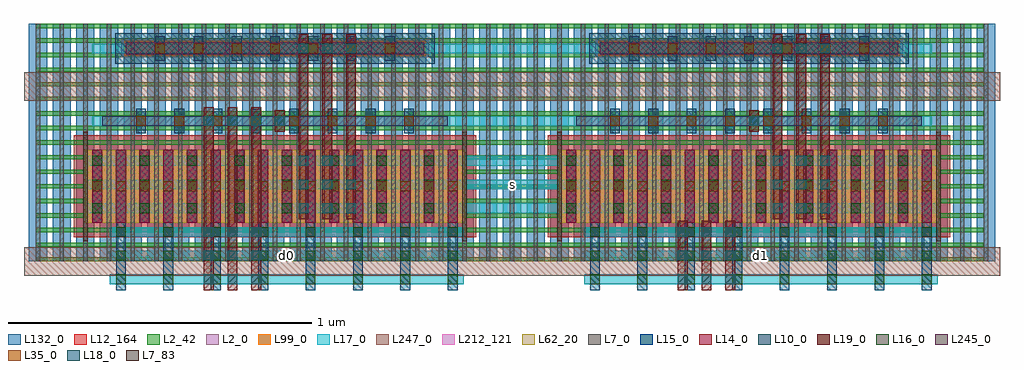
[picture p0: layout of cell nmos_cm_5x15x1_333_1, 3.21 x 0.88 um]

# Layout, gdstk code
import gdstk
lib = gdstk.Library(unit=1e-6, precision=1e-12)
def R(c, l, rs):  # rectangles x0, y0, x1, y1
    for r in rs: c.add(gdstk.rectangle(r[:2], r[2:], *l))
def A(c, l, x, y, w, h, nx, ny, dx, dy):  # array of equal rectangles
    R(c, l, [(x+i*dx, y+j*dy, x+i*dx+w, y+j*dy+h) for i in range(nx) for j in range(ny)])
L2_0 = (2, 0)
L2_42 = (2, 42)
L7_0 = (7, 0)
L7_83 = (7, 83)
L10_0 = (10, 0)
L12_164 = (12, 164)
L14_0 = (14, 0)
L15_0 = (15, 0)
L16_0 = (16, 0)
L17_0 = (17, 0)
L18_0 = (18, 0)
L19_0 = (19, 0)
L35_0 = (35, 0)
L62_20 = (62, 20)
L99_0 = (99, 0)
L132_0 = (132, 0)
L212_121 = (212, 121)
L245_0 = (245, 0)
L247_0 = (247, 0)

nmos_cm_5x15x1_333_1 = lib.new_cell('nmos_cm_5x15x1_333_1')
R(nmos_cm_5x15x1_333_1, L2_0, [(0.186,0.127,1.434,0.367), (1.746,0.127,2.994,0.367), (0.3035,0.671,1.3165,0.731), (1.8635,0.671,2.8765,0.731)])
A(nmos_cm_5x15x1_333_1, L2_42, 0.023, 0, 3.12, 0.014, 1, 17, 0, 0.048)
A(nmos_cm_5x15x1_333_1, L7_0, 0.023, 0, 0.014, 0.782, 41, 1, 0.078, 0)
R(nmos_cm_5x15x1_333_1, L7_83, [(0.179,0.067,0.193,0.427), (1.427,0.067,1.441,0.427), (1.739,0.067,1.753,0.427), (2.987,0.067,3.001,0.427)])
R(nmos_cm_5x15x1_333_1, L10_0, [(0.2835,0.651,1.3365,0.751), (1.8435,0.651,2.8965,0.751)])
R(nmos_cm_5x15x1_333_1, L12_164, [(0.147,0.079,1.473,0.415), (1.707,0.079,3.033,0.415)])
A(nmos_cm_5x15x1_333_1, L14_0, 0.208, 0.127, 0.034, 0.24, 16, 1, 0.078, 0)
A(nmos_cm_5x15x1_333_1, L14_0, 1.768, 0.127, 0.034, 0.24, 16, 1, 0.078, 0)
R(nmos_cm_5x15x1_333_1, L14_0, [(0.3185,0.681,1.3015,0.721), (1.8785,0.681,2.8615,0.721)])
A(nmos_cm_5x15x1_333_1, L15_0, 0.287, -0.095, 0.032, 0.223, 8, 1, 0.156, 0)
A(nmos_cm_5x15x1_333_1, L15_0, 1.847, -0.095, 0.032, 0.223, 8, 1, 0.156, 0)
A(nmos_cm_5x15x1_333_1, L15_0, 0.209, 0.127, 0.032, 0.24, 16, 1, 0.078, 0)
A(nmos_cm_5x15x1_333_1, L15_0, 1.769, 0.127, 0.032, 0.24, 16, 1, 0.078, 0)
A(nmos_cm_5x15x1_333_1, L15_0, 0.353, 0.422, 0.032, 0.08, 8, 1, 0.126, 0)
A(nmos_cm_5x15x1_333_1, L15_0, 1.913, 0.422, 0.032, 0.08, 8, 1, 0.126, 0)
A(nmos_cm_5x15x1_333_1, L15_0, 0.416, 0.661, 0.032, 0.08, 7, 1, 0.126, 0)
A(nmos_cm_5x15x1_333_1, L15_0, 1.976, 0.661, 0.032, 0.08, 7, 1, 0.126, 0)
A(nmos_cm_5x15x1_333_1, L16_0, 0.287, -0.075, 0.032, 0.032, 8, 3, 0.156, 0.078)
A(nmos_cm_5x15x1_333_1, L16_0, 1.847, -0.075, 0.032, 0.032, 8, 3, 0.156, 0.078)
A(nmos_cm_5x15x1_333_1, L16_0, 0.209, 0.159, 0.032, 0.032, 8, 3, 0.156, 0.078)
A(nmos_cm_5x15x1_333_1, L16_0, 1.769, 0.159, 0.032, 0.032, 8, 3, 0.156, 0.078)
A(nmos_cm_5x15x1_333_1, L16_0, 0.353, 0.446, 0.032, 0.032, 8, 1, 0.126, 0)
A(nmos_cm_5x15x1_333_1, L16_0, 1.913, 0.446, 0.032, 0.032, 8, 1, 0.126, 0)
A(nmos_cm_5x15x1_333_1, L16_0, 0.416, 0.685, 0.032, 0.032, 7, 1, 0.126, 0)
A(nmos_cm_5x15x1_333_1, L16_0, 1.976, 0.685, 0.032, 0.032, 7, 1, 0.126, 0)
A(nmos_cm_5x15x1_333_1, L17_0, 0.267, -0.075, 1.164, 0.032, 1, 3, 0, 0.078)
A(nmos_cm_5x15x1_333_1, L17_0, 1.827, -0.075, 1.164, 0.032, 1, 3, 0, 0.078)
A(nmos_cm_5x15x1_333_1, L17_0, 0.186, 0.159, 1.248, 0.032, 1, 3, 0, 0.078)
A(nmos_cm_5x15x1_333_1, L17_0, 1.424, 0.159, 0.332, 0.032, 1, 3, 0, 0.078)
A(nmos_cm_5x15x1_333_1, L17_0, 1.746, 0.159, 1.248, 0.032, 1, 3, 0, 0.078)
R(nmos_cm_5x15x1_333_1, L17_0, [(0.209,0.446,1.411,0.478), (1.401,0.446,1.779,0.478), (1.769,0.446,2.971,0.478), (0.209,0.685,1.411,0.717), (1.401,0.685,1.779,0.717), (1.769,0.685,2.971,0.717)])
A(nmos_cm_5x15x1_333_1, L18_0, 0.576, -0.075, 0.032, 0.032, 3, 3, 0.078, 0.078)
A(nmos_cm_5x15x1_333_1, L18_0, 2.136, -0.075, 0.032, 0.032, 3, 3, 0.078, 0.078)
A(nmos_cm_5x15x1_333_1, L18_0, 0.888, 0.159, 0.032, 0.032, 3, 3, 0.078, 0.078)
A(nmos_cm_5x15x1_333_1, L18_0, 2.448, 0.159, 0.032, 0.032, 3, 3, 0.078, 0.078)
A(nmos_cm_5x15x1_333_1, L18_0, 0.576, 0.446, 0.032, 0.032, 4, 1, 0.078, 0)
A(nmos_cm_5x15x1_333_1, L18_0, 0.888, 0.685, 0.032, 0.032, 3, 1, 0.078, 0)
A(nmos_cm_5x15x1_333_1, L18_0, 2.448, 0.685, 0.032, 0.032, 3, 1, 0.078, 0)
R(nmos_cm_5x15x1_333_1, L18_0, [(2.37,0.446,2.402,0.478)])
A(nmos_cm_5x15x1_333_1, L19_0, 0.576, -0.095, 0.032, 0.228, 3, 1, 0.078, 0)
A(nmos_cm_5x15x1_333_1, L19_0, 2.136, -0.095, 0.032, 0.228, 3, 1, 0.078, 0)
A(nmos_cm_5x15x1_333_1, L19_0, 0.576, 0.123, 0.032, 0.385, 3, 1, 0.078, 0)
A(nmos_cm_5x15x1_333_1, L19_0, 0.888, 0.139, 0.032, 0.228, 3, 1, 0.078, 0)
A(nmos_cm_5x15x1_333_1, L19_0, 2.448, 0.139, 0.032, 0.228, 3, 1, 0.078, 0)
A(nmos_cm_5x15x1_333_1, L19_0, 0.888, 0.357, 0.032, 0.39, 3, 1, 0.078, 0)
A(nmos_cm_5x15x1_333_1, L19_0, 2.448, 0.357, 0.032, 0.39, 3, 1, 0.078, 0)
R(nmos_cm_5x15x1_333_1, L19_0, [(0.81,0.426,0.842,0.498), (2.37,0.426,2.402,0.498)])
A(nmos_cm_5x15x1_333_1, L35_0, 0.209, 0.231, 0.032, 0.032, 16, 1, 0.078, 0)
A(nmos_cm_5x15x1_333_1, L35_0, 1.769, 0.231, 0.032, 0.032, 16, 1, 0.078, 0)
A(nmos_cm_5x15x1_333_1, L35_0, 0.353, 0.446, 0.032, 0.032, 8, 1, 0.126, 0)
A(nmos_cm_5x15x1_333_1, L35_0, 1.913, 0.446, 0.032, 0.032, 8, 1, 0.126, 0)
A(nmos_cm_5x15x1_333_1, L35_0, 0.416, 0.685, 0.032, 0.032, 7, 1, 0.126, 0)
A(nmos_cm_5x15x1_333_1, L35_0, 1.976, 0.685, 0.032, 0.032, 7, 1, 0.126, 0)
R(nmos_cm_5x15x1_333_1, L62_20, [(0.186,0.127,1.434,0.367), (1.746,0.127,2.994,0.367)])
R(nmos_cm_5x15x1_333_1, L99_0, [(0.186,0.127,1.434,0.367), (1.746,0.127,2.994,0.367), (0.3135,0.676,1.3065,0.726), (1.8735,0.676,2.8665,0.726)])
A(nmos_cm_5x15x1_333_1, L132_0, 0, 0, 0.06, 0.782, 41, 1, 0.078, 0)
R(nmos_cm_5x15x1_333_1, L212_121, [(0.186,0.127,1.434,0.367), (1.746,0.127,2.994,0.367)])
R(nmos_cm_5x15x1_333_1, L245_0, [(0.241,0.447,1.379,0.477), (1.801,0.447,2.939,0.477)])
R(nmos_cm_5x15x1_333_1, L247_0, [(-0.016,-0.047,1.636,0.047), (1.544,-0.047,3.196,0.047), (-0.016,0.529,1.636,0.623), (1.544,0.529,3.196,0.623)])
nmos_cm_5x15x1_333_1.add(gdstk.Label('s', (1.59,0.253), layer=16, texttype=20))
nmos_cm_5x15x1_333_1.add(gdstk.Label('d1', (2.409,0.019), layer=16, texttype=20))
nmos_cm_5x15x1_333_1.add(gdstk.Label('d0', (0.849,0.019), layer=16, texttype=20))

lib.write_gds('nmos_cm_5x15x1_333_1.gds')
